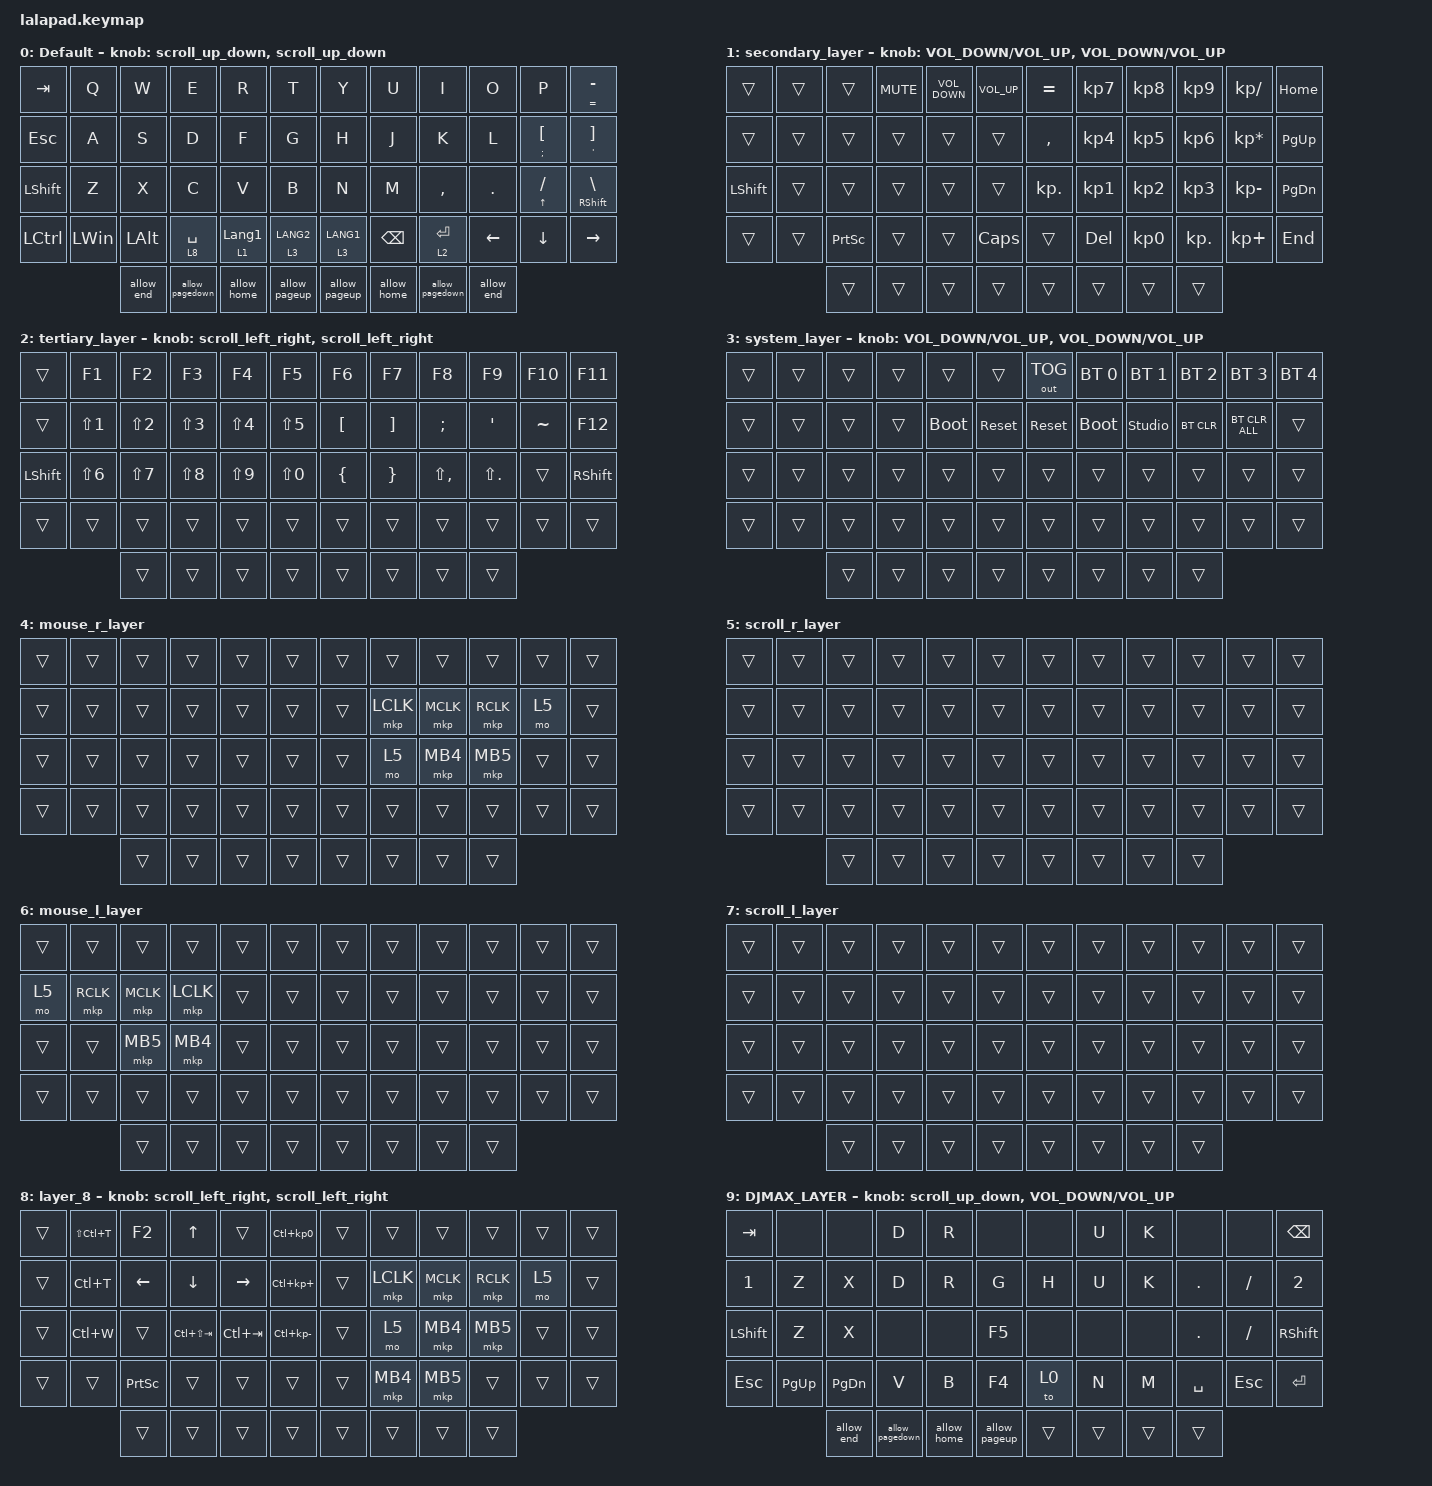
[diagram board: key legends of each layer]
#include <input/processors.dtsi>
#include <behaviors.dtsi>
#include <dt-bindings/zmk/bt.h>
#include <dt-bindings/zmk/keys.h>
#include <dt-bindings/zmk/outputs.h>
#include <dt-bindings/zmk/pointing.h>

#define DEFAULT_LAYER   0
#define SECONDARY_LAYER 1
#define TERTIARY_LAYER  2
#define SYSTEM_LAYER    3
#define MOUSE_R_LAYER   4
#define SCROLL_R_LAYER  5
#define MOUSE_L_LAYER   6
#define SCROLL_L_LAYER  7

// Mouse Scroll Value

#define ZMK_POINTING_DEFAULT_SCRL_VAL 100

// cirque trackpad input&layer control

&glidepoint_listener_R {
    input-processors =
        <&zip_xy_transform (INPUT_TRANSFORM_XY_SWAP | INPUT_TRANSFORM_X_INVERT | INPUT_TRANSFORM_Y_INVERT)>,
        <&zip_xy_scaler 4 2>,
        <&zip_temp_layer MOUSE_R_LAYER 500>;

    lowspeedmode {
        layers = <SECONDARY_LAYER>;
        input-processors =
            <&zip_xy_transform (INPUT_TRANSFORM_XY_SWAP | INPUT_TRANSFORM_X_INVERT | INPUT_TRANSFORM_Y_INVERT)>,
            <&zip_xy_scaler 3 5>,
            <&zip_temp_layer MOUSE_R_LAYER 500>;
    };

    scroller {
        layers = <SCROLL_R_LAYER>;
        input-processors =
            <&zip_xy_to_scroll_mapper>,
            <&zip_scroll_transform (INPUT_TRANSFORM_XY_SWAP | INPUT_TRANSFORM_Y_INVERT)>,
            <&zip_scroll_scaler 1 8>;
    };
};

&glidepoint_listener_L {
    input-processors =
        <&zip_xy_transform (INPUT_TRANSFORM_XY_SWAP | INPUT_TRANSFORM_X_INVERT | INPUT_TRANSFORM_Y_INVERT)>,
        <&zip_xy_scaler 3 2>,
        <&zip_temp_layer MOUSE_L_LAYER 500>;

    lowspeedmode {
        layers = <SECONDARY_LAYER>;
        input-processors =
            <&zip_xy_transform (INPUT_TRANSFORM_XY_SWAP | INPUT_TRANSFORM_X_INVERT | INPUT_TRANSFORM_Y_INVERT)>,
            <&zip_xy_scaler 3 4>,
            <&zip_temp_layer MOUSE_L_LAYER 500>;
    };

    scroller {
        layers = <SCROLL_L_LAYER>;
        input-processors =
            <&zip_xy_to_scroll_mapper>,
            <&zip_scroll_transform (INPUT_TRANSFORM_XY_SWAP | INPUT_TRANSFORM_Y_INVERT)>,
            <&zip_scroll_scaler 1 6>;
    };
};

/ {
    behaviors {
        // Encoder to Mouse Scroll

        scroll_up_down: sensor_scroll_up_down {
            compatible = "zmk,behavior-sensor-rotate";
            #sensor-binding-cells = <0>;
            bindings = <&msc SCRL_UP>, <&msc SCRL_DOWN>;

            tap-ms = <20>;
            label = "SCROLL_UP_DOWN";
        };

        scroll_down_up: sensor_scroll_down_up {
            compatible = "zmk,behavior-sensor-rotate";
            #sensor-binding-cells = <0>;
            bindings = <&msc SCRL_DOWN>, <&msc SCRL_UP>;

            tap-ms = <20>;
            label = "SCROLL_DOWN_UP";
        };

        scroll_left_right: sensor_scroll_left_right {
            compatible = "zmk,behavior-sensor-rotate";
            #sensor-binding-cells = <0>;
            bindings = <&msc SCRL_LEFT>, <&msc SCRL_RIGHT>;

            tap-ms = <20>;
            label = "SCROLL_LEFT_RIGHT";
        };

        scroll_right_left: sensor_scroll_right_left {
            compatible = "zmk,behavior-sensor-rotate";
            #sensor-binding-cells = <0>;
            bindings = <&msc SCRL_RIGHT>, <&msc SCRL_LEFT>;

            tap-ms = <20>;
            label = "SCROLL_RIGHT_LEFT";
        };

        volume_up_down: sensor_volume_up_down {
            compatible = "zmk,behavior-sensor-rotate";
            #sensor-binding-cells = <0>;
            bindings = <&kp C_VOLUME_UP>, <&kp C_VOLUME_DOWN>;

            tap-ms = <20>;
            label = "VOLUME_UP_DOWN";
        };

        dot_comma: dot_comma {
            compatible = "zmk,behavior-mod-morph";
            #binding-cells = <0>;
            bindings = <&kp KP_DOT>, <&kp COMMA>;

            mods = <(MOD_LSFT|MOD_RSFT)>;
            label = "DOT_COMMA";
        };

        pls_minus: pls_minus {
            compatible = "zmk,behavior-mod-morph";
            #binding-cells = <0>;
            bindings = <&kp PLUS>, <&kp MINUS>;

            mods = <(MOD_LSFT|MOD_RSFT)>;
            label = "PLS_MINUS";
        };

        allow_pageup: allow_pageup {
            compatible = "zmk,behavior-mod-morph";
            #binding-cells = <0>;
            bindings = <&kp UP>, <&kp PAGE_UP>;

            mods = <(MOD_LCTL|MOD_RCTL)>;
            label = "ALLOW_PAGEUP";
        };

        allow_pagedown: allow_pagedown {
            compatible = "zmk,behavior-mod-morph";
            #binding-cells = <0>;
            bindings = <&kp DOWN>, <&kp PAGE_DOWN>;

            mods = <(MOD_LCTL|MOD_RCTL)>;
            label = "ALLOW_PAGEDOWN";
        };

        allow_home: allow_home {
            compatible = "zmk,behavior-mod-morph";
            #binding-cells = <0>;
            bindings = <&kp LEFT>, <&kp HOME>;

            mods = <(MOD_LCTL|MOD_RCTL)>;
            label = "ALLOW_HOME";
        };

        allow_end: allow_end {
            compatible = "zmk,behavior-mod-morph";
            #binding-cells = <0>;
            bindings = <&kp RIGHT>, <&kp END>;

            mods = <(MOD_LCTL|MOD_RCTL)>;
            label = "ALLOW_END";
        };

        mt2: mod_tap2 {
            compatible = "zmk,behavior-hold-tap";
            #binding-cells = <2>;
            flavor = "tap-preferred";
            tapping-term-ms = <200>;
            quick-tap-ms = <200>;
            require-prior-idle-ms = <125>;
            bindings = <&kp>, <&kp>;
        };
    };

    combos {
        compatible = "zmk,combos";

        LAYER9 {
            bindings = <&to 9>;
            key-positions = <37 38>;
        };
    };

    keymap {
        compatible = "zmk,keymap";

        DEFAULT_LAYER {
            display-name = "Default";
            sensor-bindings = <&scroll_up_down>, <&scroll_up_down>;

            bindings = <
&kp TAB    &kp Q         &kp W         &kp E            &kp R             &kp T          &kp Y          &kp U          &kp I            &kp O       &kp P                   &mt2 EQUAL MINUS
&kp ESC    &kp A         &kp S         &kp D            &kp F             &kp G          &kp H          &kp J          &kp K            &kp L       &mt2 SEMI LEFT_BRACKET  &mt2 SQT RIGHT_BRACKET
&kp LSHFT  &kp Z         &kp X         &kp C            &kp V             &kp B          &kp N          &kp M          &kp COMMA        &kp PERIOD  &mt2 UP SLASH           &mt2 RSHIFT BSLH
&kp LCTRL  &kp LEFT_WIN  &kp LEFT_ALT  &lt 8 SPACE      &lt 1 LANGUAGE_1  &lt 3 LANG2    &lt 3 LANG1    &kp BACKSPACE  &lt 2 ENTER      &kp LEFT    &kp DOWN                &kp RIGHT
                         &allow_end    &allow_pagedown  &allow_home       &allow_pageup  &allow_pageup  &allow_home    &allow_pagedown  &allow_end
            >;
        };

        SECONDARY_LAYER {
            display-name = "secondary_layer";
            sensor-bindings =
                <&inc_dec_kp C_VOLUME_DOWN C_VOLUME_UP>,
                <&inc_dec_kp C_VOLUME_DOWN C_VOLUME_UP>;

            bindings = <
&trans          &trans  &trans           &kp C_MUTE  &kp C_VOLUME_DOWN  &kp C_VOLUME_UP  &kp EQUAL   &kp KP_NUMBER_7  &kp KP_NUMBER_8  &kp KP_NUMBER_9  &kp KP_SLASH     &kp HOME
&trans          &trans  &trans           &trans      &trans             &trans           &kp COMMA   &kp KP_NUMBER_4  &kp KP_NUMBER_5  &kp KP_NUMBER_6  &kp KP_ASTERISK  &kp PAGE_UP
&kp LEFT_SHIFT  &trans  &trans           &trans      &trans             &trans           &kp KP_DOT  &kp KP_NUMBER_1  &kp KP_NUMBER_2  &kp KP_NUMBER_3  &kp KP_MINUS     &kp PAGE_DOWN
&trans          &trans  &kp PRINTSCREEN  &trans      &trans             &kp CAPS         &trans      &kp DELETE       &kp KP_NUMBER_0  &kp KP_DOT       &kp KP_PLUS      &kp END
                        &trans           &trans      &trans             &trans           &trans      &trans           &trans           &trans
            >;
        };

        TERTIARY_LAYER {
            display-name = "tertiary_layer";
            bindings = <
&trans          &kp F1            &kp F2            &kp F3            &kp F4            &kp F5            &kp F6            &kp F7             &kp F8         &kp F9       &kp F10    &kp F11
&trans          &kp LS(NUMBER_1)  &kp LS(NUMBER_2)  &kp LS(NUMBER_3)  &kp LS(NUMBER_4)  &kp LS(N5)        &kp LEFT_BRACKET  &kp RIGHT_BRACKET  &kp SEMI       &kp SQT      &kp TILDE  &kp F12
&kp LEFT_SHIFT  &kp LS(NUMBER_6)  &kp LS(NUMBER_7)  &kp LS(NUMBER_8)  &kp LS(NUMBER_9)  &kp LS(NUMBER_0)  &kp LEFT_BRACE    &kp RIGHT_BRACE    &kp LS(COMMA)  &kp LS(DOT)  &trans     &kp RIGHT_SHIFT
&trans          &trans            &trans            &trans            &trans            &trans            &trans            &trans             &trans         &trans       &trans     &trans
                                  &trans            &trans            &trans            &trans            &trans            &trans             &trans         &trans
            >;

            sensor-bindings = <&scroll_left_right>, <&scroll_left_right>;
        };

        SYSTEM_LAYER {
            display-name = "system_layer";
            sensor-bindings =
                <&inc_dec_kp C_VOLUME_DOWN C_VOLUME_UP>,
                <&inc_dec_kp C_VOLUME_DOWN C_VOLUME_UP>;

            bindings = <
&trans  &trans  &trans  &trans  &trans       &trans      &out OUT_TOG  &bt BT_SEL 0  &bt BT_SEL 1    &bt BT_SEL 2  &bt BT_SEL 3    &bt BT_SEL 4
&trans  &trans  &trans  &trans  &bootloader  &sys_reset  &sys_reset    &bootloader   &studio_unlock  &bt BT_CLR    &bt BT_CLR_ALL  &trans
&trans  &trans  &trans  &trans  &trans       &trans      &trans        &trans        &trans          &trans        &trans          &trans
&trans  &trans  &trans  &trans  &trans       &trans      &trans        &trans        &trans          &trans        &trans          &trans
                &trans  &trans  &trans       &trans      &trans        &trans        &trans          &trans
            >;
        };

        MOUSE_R_LAYER {
            display-name = "mouse_r_layer";
            bindings = <
&trans  &trans  &trans  &trans  &trans  &trans  &trans  &trans     &trans     &trans     &trans  &trans
&trans  &trans  &trans  &trans  &trans  &trans  &trans  &mkp LCLK  &mkp MCLK  &mkp RCLK  &mo 5   &trans
&trans  &trans  &trans  &trans  &trans  &trans  &trans  &mo 5      &mkp MB4   &mkp MB5   &trans  &trans
&trans  &trans  &trans  &trans  &trans  &trans  &trans  &trans     &trans     &trans     &trans  &trans
                &trans  &trans  &trans  &trans  &trans  &trans     &trans     &trans
            >;
        };

        SCROLL_R_LAYER {
            display-name = "scroll_r_layer";
            bindings = <
&trans  &trans  &trans  &trans  &trans  &trans  &trans  &trans  &trans  &trans  &trans  &trans
&trans  &trans  &trans  &trans  &trans  &trans  &trans  &trans  &trans  &trans  &trans  &trans
&trans  &trans  &trans  &trans  &trans  &trans  &trans  &trans  &trans  &trans  &trans  &trans
&trans  &trans  &trans  &trans  &trans  &trans  &trans  &trans  &trans  &trans  &trans  &trans
                &trans  &trans  &trans  &trans  &trans  &trans  &trans  &trans
            >;
        };

        MOUSE_L_LAYER {
            display-name = "mouse_l_layer";
            bindings = <
&trans  &trans     &trans     &trans     &trans  &trans  &trans  &trans  &trans  &trans  &trans  &trans
&mo 5   &mkp RCLK  &mkp MCLK  &mkp LCLK  &trans  &trans  &trans  &trans  &trans  &trans  &trans  &trans
&trans  &trans     &mkp MB5   &mkp MB4   &trans  &trans  &trans  &trans  &trans  &trans  &trans  &trans
&trans  &trans     &trans     &trans     &trans  &trans  &trans  &trans  &trans  &trans  &trans  &trans
                   &trans     &trans     &trans  &trans  &trans  &trans  &trans  &trans
            >;
        };

        SCROLL_L_LAYER {
            display-name = "scroll_l_layer";
            bindings = <
&trans  &trans  &trans  &trans  &trans  &trans  &trans  &trans  &trans  &trans  &trans  &trans
&trans  &trans  &trans  &trans  &trans  &trans  &trans  &trans  &trans  &trans  &trans  &trans
&trans  &trans  &trans  &trans  &trans  &trans  &trans  &trans  &trans  &trans  &trans  &trans
&trans  &trans  &trans  &trans  &trans  &trans  &trans  &trans  &trans  &trans  &trans  &trans
                &trans  &trans  &trans  &trans  &trans  &trans  &trans  &trans
            >;
        };

        layer_8 {
            bindings = <
&trans  &kp LS(LC(T))  &kp F2           &kp UP           &trans       &kp LC(KP_NUMBER_0)  &trans  &trans     &trans     &trans     &trans  &trans
&trans  &kp LC(T)      &kp LEFT         &kp DOWN         &kp RIGHT    &kp LC(KP_PLUS)      &trans  &mkp LCLK  &mkp MCLK  &mkp RCLK  &mo 5   &trans
&trans  &kp LC(W)      &trans           &kp LC(LS(TAB))  &kp LC(TAB)  &kp LC(KP_MINUS)     &trans  &mo 5      &mkp MB4   &mkp MB5   &trans  &trans
&trans  &trans         &kp PRINTSCREEN  &trans           &trans       &trans               &trans  &mkp MB4   &mkp MB5   &trans     &trans  &trans
                       &trans           &trans           &trans       &trans               &trans  &trans     &trans     &trans
            >;

            sensor-bindings = <&scroll_left_right>, <&scroll_left_right>;
        };

        DJMAX_LAYER {
            bindings = <
&kp TAB       &none        &none          &kp D            &kp R        &none          &none   &kp U   &kp K   &none       &none      &kp BACKSPACE
&kp NUMBER_1  &kp Z        &kp X          &kp D            &kp R        &kp G          &kp H   &kp U   &kp K   &kp PERIOD  &kp SLASH  &kp NUMBER_2
&kp LSHIFT    &kp Z        &kp X          &none            &none        &kp F5         &none   &none   &none   &kp PERIOD  &kp SLASH  &kp RSHIFT
&kp ESC       &kp PAGE_UP  &kp PAGE_DOWN  &kp V            &kp B        &kp F4         &to 0   &kp N   &kp M   &kp SPACE   &kp ESC    &kp ENTER
                           &allow_end     &allow_pagedown  &allow_home  &allow_pageup  &trans  &trans  &trans  &trans
            >;

            sensor-bindings =
                <&scroll_up_down>,
                <&inc_dec_kp C_VOLUME_DOWN C_VOLUME_UP>;
        };
    };
};
